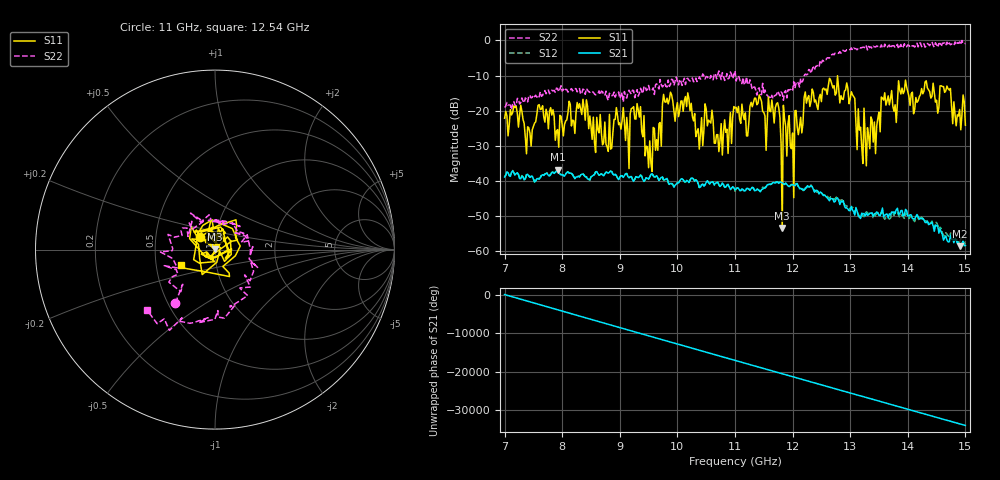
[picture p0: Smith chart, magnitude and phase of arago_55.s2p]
! 4/11/2025 3:35:01 PM
! C:\ANRITSUVNA\LELEC2350\LAB1_2025\GROUP1_55.S2P
! CHANNEL.1
! TR.MEASUREMENT
! CORRECTED.DATA
! RF.CORRECTION: FULL.TWO.PORT.CAL.PORT.1.2
! AVERAGING.OFF
! IF.BANDWIDTH: 300HZ
! SWEEPTYPE:  FREQ.SWEEP(Linear)
! Reference Plane Port Info
! PORT:  PORT1  PORT2
! DISTANCE:  0  m  0  m
! TIME:  0  s  0  s
! PHASE.OFFSET:  0 °  0 °
! LOSS:  0  dB  0  dB
! REF.LOSS:  0  dB  0  dB
! REF.FREQ:  0  Hz  0  Hz
! Power Info
! POWER:  5  dBm  5  dBm
! EFF.POWER:  5  dBm  5  dBm
# GHZ S RI R 50.0
! FREQ.GHZ  S11RE  S11IM  S21RE  S21IM  S12RE  S12IM  S22RE  S22IM
!; PortSelection: Port_12
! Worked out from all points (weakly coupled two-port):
!   401 points, 7 GHz to 15 GHz, reference 50 ohm
!   highest |S21| = -36.87 dB at 7.92 GHz (marker M1); lowest = -58.6 dB at 14.9 GHz (marker M2)
!   lowest |S11| = -53.4 dB at 11.82 GHz (marker M3), VSWR 1.00, Z = 49.9 + j0.202 ohm
!   |S11| at or under -10 dB: start of sweep to end of sweep
!   |S22| runs from -19.8 to 0.0 dB; largest |S21 - S12| = 0.00072
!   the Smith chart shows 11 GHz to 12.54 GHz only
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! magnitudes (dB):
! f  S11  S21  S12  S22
! 7 GHz  -22.2  -38.9  -38.9  -19.1
! 7.42 GHz  -24.9  -38.7  -38.6  -15.9
! 7.62 GHz  -19.7  -39.1  -39.1  -14.6
! 7.92 GHz  -25.4  -36.9  -37.0  -13.7
! 8.34 GHz  -21.1  -38.2  -38.1  -14.9
! 8.76 GHz  -29.5  -37.6  -37.5  -14.4
! 9.22 GHz  -19.3  -39.7  -39.5  -14.2
! 9.52 GHz  -28.6  -38.9  -39.0  -14.1
! 9.68 GHz  -23.8  -39.9  -39.9  -13.8
! 9.86 GHz  -16.9  -41.0  -41.1  -13.1
! 10.68 GHz  -26.9  -40.5  -40.5  -10.9
! 11 GHz  -19.3  -42.6  -43.0  -8.6
! 11.74 GHz  -17.8  -40.4  -40.5  -14.4
! 11.82 GHz  -53.4  -40.6  -40.4  -15.1
! 12 GHz  -26.4  -41.1  -41.1  -14.1
! 12.34 GHz  -13.9  -41.7  -41.8  -8.2
! 13.04 GHz  -15.5  -48.4  -47.6  -2.8
! 13.24 GHz  -19.3  -49.3  -50.2  -1.9
! 13.68 GHz  -18.3  -49.4  -50.9  -1.3
! 14.7 GHz  -13.8  -57.4  -55.7  -1.4
! 14.9 GHz  -19.7  -58.6  -57.8  -0.4
! 15 GHz  -24.2  -58.4  -57.7  -0.8
